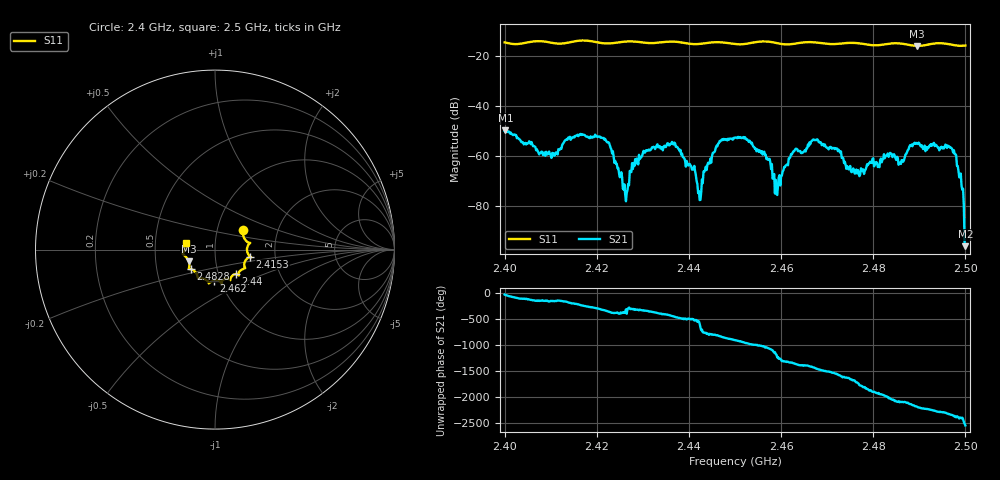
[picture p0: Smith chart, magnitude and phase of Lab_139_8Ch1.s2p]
# Hz S RI R 50
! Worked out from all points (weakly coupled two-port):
!   601 points, 2.4 GHz to 2.5 GHz, reference 50 ohm
!   highest |S21| = -49.65 dB at 2.4002 GHz (marker M1); lowest = -96.1 dB at 2.5 GHz (marker M2)
!   lowest |S11| = -15.9 dB at 2.4895 GHz (marker M3), VSWR 1.38, Z = 37 - j5.01 ohm
!   |S11| at or under -10 dB: start of sweep to end of sweep
!   S12 and S22 are empty: the file has one direction only
!   S11 on the Smith chart (normalised r, x): 2.4 GHz: 1.33, +0.29; 2.4153 GHz: 1.48, -0.12; 2.44 GHz: 1.21, -0.34; 2.462 GHz: 0.93, -0.33; 2.4828 GHz: 0.74, -0.17; 2.5 GHz: 0.72, +0.06
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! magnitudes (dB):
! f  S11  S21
! 2.4 GHz  -14.5  -50.0
! 2.4002 GHz  -14.6  -49.7
! 2.4103 GHz  -14.7  -58.7
! 2.4153 GHz  -14.0  -51.9
! 2.4167 GHz  -13.7  -51.6
! 2.4223 GHz  -14.9  -54.5
! 2.4262 GHz  -14.2  -75.4
! 2.4333 GHz  -14.6  -56.5
! 2.44 GHz  -15.0  -63.7
! 2.4425 GHz  -15.1  -77.6
! 2.4463 GHz  -14.4  -55.0
! 2.45 GHz  -15.1  -52.6
! 2.4567 GHz  -14.1  -59.5
! 2.4588 GHz  -14.7  -69.5
! 2.462 GHz  -15.2  -60.4
! 2.4667 GHz  -14.4  -53.9
! 2.4765 GHz  -14.8  -66.9
! 2.4828 GHz  -15.2  -59.8
! 2.4833 GHz  -15.0  -60.3
! 2.4895 GHz  -15.9  -54.9
! 2.497 GHz  -15.4  -56.9
! 2.5 GHz  -15.7  -96.1
